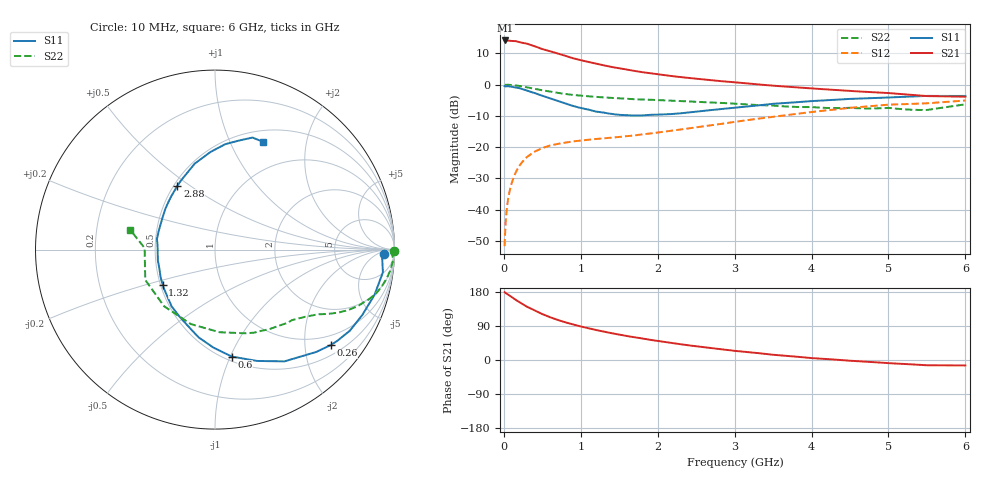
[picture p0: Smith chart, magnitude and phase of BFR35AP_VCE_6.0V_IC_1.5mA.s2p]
! Infineon Technologies  Discrete & RF Semiconductors
! BFR35AP
! VCE =  6.0 V,  IC =  1.5 mA
! Common Emitter S-Parameters:  Nov 2015
# GHz  S  MA  R  50
!  f  S11  S21  S12  S22
! GHz  MAG  ANG  MAG  ANG  MAG  ANG  MAG  ANG
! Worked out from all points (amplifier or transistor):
!   210 points, 10 MHz to 6 GHz, reference 50 ohm
!   highest |S21| = 14.1 dB at 20 MHz (marker M1)
!   |S21| within 3 dB of that: start of sweep to 534.2 MHz
!   unconditionally stable (mu >= 1): 1.318 GHz to 3.497 GHz
!   at 185 MHz: K = 0.18, MSG = 20.2 dB, |S12| = -26.7 dB
!   at 1.52 GHz: K = 1.09, MAG = 9.1 dB, |S12| = -16.7 dB
!   at 6 GHz: K = 0.97, MSG = 0.6 dB, |S12| = -5.1 dB
!   S11 on the Smith chart (normalised r, x): 10 MHz: 28, -13; 260 MHz: 0.74, -2.59; 600 MHz: 0.54, -1.01; 1.32 GHz: 0.51, -0.23; 2.88 GHz: 0.52, +0.45; 6 GHz: 0.64, +1.34
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0.01  0.9425 -1.6  5.019 178.9  0.0026 91.2  0.999 -0.6
0.02  0.9331 -3.2  5.072 177.0  0.0052 89.0  0.9874 -1.2
0.035  0.9379 -5.5  5.069 175.1  0.0093 87.8  0.9906 -2.3
0.05  0.9441 -7.7  5.071 173.2  0.0134 87.3  0.9941 -3.4
0.09  0.9264 -14.2  4.992 167.9  0.0235 80.8  0.9862 -6.0
0.15  0.898 -23.9  4.965 159.0  0.0382 75.7  0.969 -9.8
0.26  0.8352 -39.6  4.602 145.5  0.0617 66.9  0.9241 -15.8
0.3  0.8022 -45.3  4.505 140.6  0.0693 64.4  0.9034 -17.7
0.4  0.733 -58.2  4.111 130.8  0.0844 58.0  0.8543 -21.7
0.5  0.6631 -69.3  3.693 121.1  0.0963 53.1  0.81 -24.7
0.6  0.6032 -81.1  3.416 112.9  0.1059 49.5  0.7714 -27.1
0.8  0.4978 -100.5  2.878 99.3  0.1182 44.8  0.7057 -30.6
1.02  0.4164 -119.8  2.419 87.6  0.128 42.4  0.6614 -33.5
1.32  0.3517 -145.9  2.003 74.0  0.139 42.0  0.62 -37.4
1.6  0.3241 -169.3  1.73 63.1  0.1498 43.5  0.5909 -41.1
2.02  0.3304 161.5  1.446 49.7  0.1718 46.1  0.5626 -47.9
2.88  0.412 120.6  1.117 27.1  0.2405 48.1  0.5046 -67.0
3.1  0.438 113.8  1.059 22.3  0.2631 47.2  0.4854 -73.4
4.1  0.5518 91.1  0.851 3.8  0.3754 38.8  0.4279 -112.6
5.1  0.6278 76.5  0.715 -9.3  0.4808 23.9  0.4115 -161.1
5.5  0.6583 71.5  0.654 -13.9  0.5017 16.7  0.3922 178.7
6  0.6575 65.8  0.639 -14.4  0.5552 12.0  0.483 167.1
